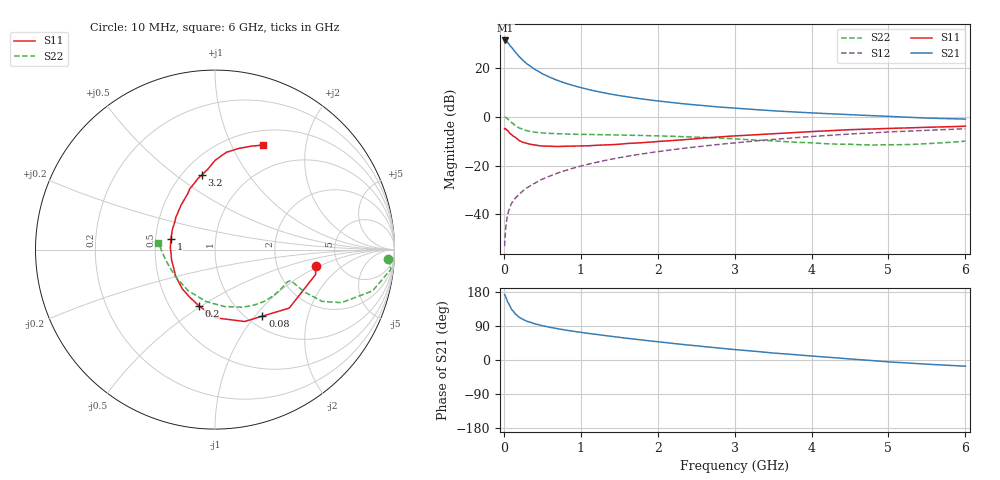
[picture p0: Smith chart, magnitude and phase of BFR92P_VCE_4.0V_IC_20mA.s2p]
! Infineon Technologies  Discrete & RF Semiconductors
! BFR92P
! VCE =  4.0 V,  IC =  20 mA
! Common Emitter S-Parameters:  Apr 2014
# GHz  S  MA  R  50
!  f  S11  S21  S12  S22
! GHz  MAG  ANG  MAG  ANG  MAG  ANG  MAG  ANG
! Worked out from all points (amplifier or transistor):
!   77 points, 10 MHz to 6 GHz, reference 50 ohm
!   highest |S21| = 31.4 dB at 20 MHz (marker M1)
!   |S21| within 3 dB of that: start of sweep to 104.5 MHz
!   unconditionally stable (mu >= 1): 509.4 MHz to 2.232 GHz
!   at 130 MHz: K = 0.56, MSG = 30.8 dB, |S12| = -34.2 dB
!   at 2.2 GHz: K = 1.00, MAG = 9.4 dB, |S12| = -13.5 dB
!   at 6 GHz: K = 0.87, MSG = 2.0 dB, |S12| = -4.9 dB
!   S11 on the Smith chart (normalised r, x): 10 MHz: 3.36, -0.90; 80 MHz: 1.17, -1.09; 200 MHz: 0.69, -0.49; 1 GHz: 0.60, +0.07; 3.2 GHz: 0.62, +0.63; 6 GHz: 0.67, +1.33
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0.01  0.5677 -9.2  36.99 172.7  0.0022 84.2  0.9656 -3.1
0.02  0.5773 -13.9  37.13 168.5  0.0042 86.0  0.986 -6.4
0.05  0.5267 -38.2  34.04 153.1  0.01 77.0  0.9072 -14.7
0.08  0.4554 -54.5  29.26 142.4  0.014 70.9  0.8198 -19.2
0.1  0.4332 -67.6  26.81 133.3  0.0167 68.5  0.7648 -22.7
0.15  0.3801 -89.7  21.45 121.4  0.0214 66.3  0.6634 -25.8
0.2  0.3251 -106.2  17.26 112.6  0.0256 66.2  0.5914 -25.5
0.25  0.3003 -117.9  14.41 107.1  0.0302 67.4  0.551 -25.4
0.3  0.2847 -129.7  12.3 102.1  0.0346 68.0  0.5188 -24.4
0.4  0.2647 -145.9  9.505 95.5  0.0431 70.0  0.4845 -23.3
0.5  0.2513 -157.1  7.705 90.5  0.0524 71.4  0.4673 -22.7
0.6  0.249 -166.4  6.479 86.2  0.0609 72.0  0.4569 -22.6
0.8  0.2487 178.2  4.92 79.1  0.0789 72.3  0.4444 -23.7
1  0.2525 166.9  3.993 73.0  0.0973 71.9  0.4363 -26.0
1.1  0.2547 162.3  3.646 70.2  0.1068 71.4  0.4353 -27.2
1.5  0.2735 144.6  2.738 59.9  0.1448 68.8  0.4236 -33.4
2.1  0.3187 124.4  2.037 46.0  0.2023 63.7  0.4017 -44.4
3.1  0.4135 101.9  1.473 25.9  0.3015 53.0  0.3452 -67.9
3.2  0.4219 100.1  1.436 24.1  0.3118 51.7  0.3379 -70.9
4.1  0.5065 88.5  1.186 9.0  0.4037 41.1  0.2858 -104.2
5.1  0.5834 75.8  1.006 -6.1  0.4962 27.4  0.2673 -151.6
6  0.6414 65.3  0.899 -16.4  0.5707 15.0  0.317 173.4
